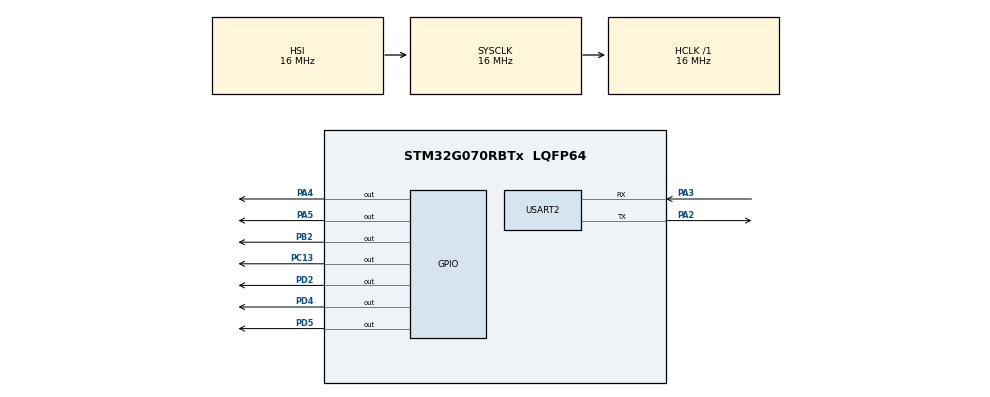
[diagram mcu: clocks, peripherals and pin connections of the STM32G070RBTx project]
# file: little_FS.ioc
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Mcu.Family=STM32G0
Mcu.Name=STM32G070RBTx
Mcu.Package=LQFP64
PA13.Mode=Serial_Wire
PA13.Signal=SYS_SWDIO
PA14-BOOT0.Mode=Serial_Wire
PA14-BOOT0.Signal=SYS_SWCLK
PA2.Mode=Asynchronous
PA2.Signal=USART2_TX
PA3.Mode=Asynchronous
PA3.Signal=USART2_RX
PA4.Signal=GPIO_Output
PA5.Signal=GPIO_Output
PB2.Signal=GPIO_Output
PC13.Signal=GPIO_Output
PD2.Signal=GPIO_Output
PD4.Signal=GPIO_Output
PD5.Signal=GPIO_Output
ProjectManager.HeapSize=0x200
ProjectManager.StackSize=0x400
ProjectManager.TargetToolchain=STM32CubeIDE
RCC.AHBFreq_Value=16000000
RCC.CortexFreq_Value=16000000
RCC.EXTERNAL_CLOCK_VALUE=48000
RCC.HCLKFreq_Value=16000000
RCC.HSE_VALUE=8000000
RCC.HSI_VALUE=16000000
RCC.LSE_VALUE=32768
RCC.SYSCLKFreq_VALUE=16000000
RCC.VCOOutputFreq_Value=128000000
USART2.VirtualMode-Asynchronous=VM_ASYNC
board=custom

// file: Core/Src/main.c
/* USER CODE BEGIN Header */
/**
  ******************************************************************************
  * @file           : main.c
  * @brief          : Main program body
  ******************************************************************************
  * @attention
  *
  * Copyright (c) 2025 STMicroelectronics.
  * All rights reserved.
  *
  * This software is licensed under terms that can be found in the LICENSE file
  * in the root directory of this software component.
  * If no LICENSE file comes with this software, it is provided AS-IS.
  *
  ******************************************************************************
  */
/* USER CODE END Header */
#include "main.h"

/* USER CODE BEGIN Includes */
#include "lfs_port.h"
#include "lfs.h"
#include "stdio.h"

/* USER CODE END Includes */

/* USER CODE BEGIN PTD */
lfs_t lfs;
UART_HandleTypeDef huart2;

/* USER CODE END PTD */

UART_HandleTypeDef huart2;

void SystemClock_Config(void);
static void MX_GPIO_Init(void);
static void MX_USART2_UART_Init(void);
/* USER CODE BEGIN PFP */
void uart_print(const char *msg) {
    HAL_UART_Transmit(&huart2, (uint8_t *)msg, strlen(msg), HAL_MAX_DELAY);
}

/* USER CODE END PFP */

int main(void)
{

  /* MCU Configuration--------------------------------------------------------*/

  /* Reset of all peripherals, Initializes the Flash interface and the Systick. */
  HAL_Init();

  /* Configure the system clock */
  SystemClock_Config();

  /* Initialize all configured peripherals */
  MX_GPIO_Init();
  MX_USART2_UART_Init();
  /* USER CODE BEGIN 2 */
  uart_print("Mounting LittleFS...\r\n");

  int err = lfs_mount(&lfs, &cfg);
  if (err) {
      uart_print("Formatting flash...\r\n");
      lfs_format(&lfs, &cfg);
      lfs_mount(&lfs, &cfg);
  }

  lfs_file_t file;
  if (lfs_file_open(&lfs, &file, "hello.txt", LFS_O_RDWR | LFS_O_CREAT) == 0) {
      const char *text = "HELLO, World\r\n";
      lfs_file_write(&lfs, &file, text, strlen(text));
      lfs_file_close(&lfs, &file);
      uart_print("File created and written!\r\n");
  }
  char buffer[64];
   memset(buffer, 0, sizeof(buffer));  // Clear buffer (optional but safe)
   if (lfs_file_open(&lfs, &file, "hello.txt", LFS_O_RDONLY) == 0) {
       int size = lfs_file_read(&lfs, &file, buffer, sizeof(buffer) - 1); // returns bytes read
       if (size > 0) {
           buffer[size] = '\0'; // Null-terminate right after actual data
           uart_print("Read from file: ");
           uart_print(buffer);
           uart_print("\r\n");
       }
       lfs_file_close(&lfs, &file);
   }
  lfs_unmount(&lfs);
  uart_print("Unmounted filesystem.\r\n");

//  char buffer[64]; // Buffer to read the file
//  if (lfs_file_open(&lfs, &file, "hello.txt", LFS_O_RDONLY) == 0) {
//      lfs_file_read(&lfs, &file, buffer, sizeof(buffer) - 1);
//      buffer[sizeof(buffer) - 1] = '\0';  // Null-terminate the string
//      uart_print("Read from file:");
//      uart_print(buffer);  // Print the content read from the file
//      lfs_file_close(&lfs, &file);
//  }
  /* USER CODE END 2 */

  /* Infinite loop */
  /* USER CODE BEGIN WHILE */
  while (1)
  {
		HAL_GPIO_TogglePin(GPIOA, GPIO_PIN_2);
		HAL_GPIO_TogglePin(GPIOD, GPIO_PIN_4);
		HAL_GPIO_TogglePin(GPIOB, GPIO_PIN_2);
		HAL_GPIO_TogglePin(GPIOB, GPIO_PIN_4);
		HAL_GPIO_TogglePin(GPIOA, GPIO_PIN_4);
		HAL_GPIO_TogglePin(GPIOD, GPIO_PIN_2);
		HAL_GPIO_TogglePin(GPIOC, GPIO_PIN_13);
		HAL_Delay(1009);

    /* USER CODE END WHILE */

  }
}

void SystemClock_Config(void)
{
  RCC_OscInitTypeDef RCC_OscInitStruct = {0};
  RCC_ClkInitTypeDef RCC_ClkInitStruct = {0};

  /** Configure the main internal regulator output voltage
  */
  HAL_PWREx_ControlVoltageScaling(PWR_REGULATOR_VOLTAGE_SCALE1);

  /** Initializes the RCC Oscillators according to the specified parameters
  * in the RCC_OscInitTypeDef structure.
  */
  RCC_OscInitStruct.OscillatorType = RCC_OSCILLATORTYPE_HSI;
  RCC_OscInitStruct.HSIState = RCC_HSI_ON;
  RCC_OscInitStruct.HSIDiv = RCC_HSI_DIV1;
  RCC_OscInitStruct.HSICalibrationValue = RCC_HSICALIBRATION_DEFAULT;
  RCC_OscInitStruct.PLL.PLLState = RCC_PLL_NONE;
  if (HAL_RCC_OscConfig(&RCC_OscInitStruct) != HAL_OK)
  {
    Error_Handler();
  }

  /** Initializes the CPU, AHB and APB buses clocks
  */
  RCC_ClkInitStruct.ClockType = RCC_CLOCKTYPE_HCLK|RCC_CLOCKTYPE_SYSCLK
                              |RCC_CLOCKTYPE_PCLK1;
  RCC_ClkInitStruct.SYSCLKSource = RCC_SYSCLKSOURCE_HSI;
  RCC_ClkInitStruct.AHBCLKDivider = RCC_SYSCLK_DIV1;
  RCC_ClkInitStruct.APB1CLKDivider = RCC_HCLK_DIV1;

  if (HAL_RCC_ClockConfig(&RCC_ClkInitStruct, FLASH_LATENCY_0) != HAL_OK)
  {
    Error_Handler();
  }
}

static void MX_USART2_UART_Init(void)
{

  huart2.Instance = USART2;
  huart2.Init.BaudRate = 115200;
  huart2.Init.WordLength = UART_WORDLENGTH_8B;
  huart2.Init.StopBits = UART_STOPBITS_1;
  huart2.Init.Parity = UART_PARITY_NONE;
  huart2.Init.Mode = UART_MODE_TX_RX;
  huart2.Init.HwFlowCtl = UART_HWCONTROL_NONE;
  huart2.Init.OverSampling = UART_OVERSAMPLING_16;
  huart2.Init.OneBitSampling = UART_ONE_BIT_SAMPLE_DISABLE;
  huart2.Init.ClockPrescaler = UART_PRESCALER_DIV1;
  huart2.AdvancedInit.AdvFeatureInit = UART_ADVFEATURE_NO_INIT;
  if (HAL_UART_Init(&huart2) != HAL_OK)
  {
    Error_Handler();
  }
  if (HAL_UARTEx_SetTxFifoThreshold(&huart2, UART_TXFIFO_THRESHOLD_1_8) != HAL_OK)
  {
    Error_Handler();
  }
  if (HAL_UARTEx_SetRxFifoThreshold(&huart2, UART_RXFIFO_THRESHOLD_1_8) != HAL_OK)
  {
    Error_Handler();
  }
  if (HAL_UARTEx_DisableFifoMode(&huart2) != HAL_OK)
  {
    Error_Handler();
  }

}

static void MX_GPIO_Init(void)
{
  GPIO_InitTypeDef GPIO_InitStruct = {0};

  /* GPIO Ports Clock Enable */
  __HAL_RCC_GPIOC_CLK_ENABLE();
  __HAL_RCC_GPIOA_CLK_ENABLE();
  __HAL_RCC_GPIOB_CLK_ENABLE();
  __HAL_RCC_GPIOD_CLK_ENABLE();

  /*Configure GPIO pin Output Level */
  HAL_GPIO_WritePin(GPIOC, GPIO_PIN_13, GPIO_PIN_RESET);

  /*Configure GPIO pin Output Level */
  HAL_GPIO_WritePin(GPIOA, GPIO_PIN_4|GPIO_PIN_5, GPIO_PIN_RESET);

  /*Configure GPIO pin Output Level */
  HAL_GPIO_WritePin(GPIOB, GPIO_PIN_2, GPIO_PIN_RESET);

  /*Configure GPIO pin Output Level */
  HAL_GPIO_WritePin(GPIOD, GPIO_PIN_2|GPIO_PIN_4|GPIO_PIN_5, GPIO_PIN_RESET);

  /*Configure GPIO pin : PC13 */
  GPIO_InitStruct.Pin = GPIO_PIN_13;
  GPIO_InitStruct.Mode = GPIO_MODE_OUTPUT_PP;
  GPIO_InitStruct.Pull = GPIO_NOPULL;
  GPIO_InitStruct.Speed = GPIO_SPEED_FREQ_LOW;
  HAL_GPIO_Init(GPIOC, &GPIO_InitStruct);

  /*Configure GPIO pins : PA4 PA5 */
  GPIO_InitStruct.Pin = GPIO_PIN_4|GPIO_PIN_5;
  GPIO_InitStruct.Mode = GPIO_MODE_OUTPUT_PP;
  GPIO_InitStruct.Pull = GPIO_NOPULL;
  GPIO_InitStruct.Speed = GPIO_SPEED_FREQ_LOW;
  HAL_GPIO_Init(GPIOA, &GPIO_InitStruct);

  /*Configure GPIO pin : PB2 */
  GPIO_InitStruct.Pin = GPIO_PIN_2;
  GPIO_InitStruct.Mode = GPIO_MODE_OUTPUT_PP;
  GPIO_InitStruct.Pull = GPIO_NOPULL;
  GPIO_InitStruct.Speed = GPIO_SPEED_FREQ_LOW;
  HAL_GPIO_Init(GPIOB, &GPIO_InitStruct);

  /*Configure GPIO pins : PD2 PD4 PD5 */
  GPIO_InitStruct.Pin = GPIO_PIN_2|GPIO_PIN_4|GPIO_PIN_5;
  GPIO_InitStruct.Mode = GPIO_MODE_OUTPUT_PP;
  GPIO_InitStruct.Pull = GPIO_NOPULL;
  GPIO_InitStruct.Speed = GPIO_SPEED_FREQ_LOW;
  HAL_GPIO_Init(GPIOD, &GPIO_InitStruct);

}

void Error_Handler(void)
{
  __disable_irq();
  while (1)
  {
  }
}
